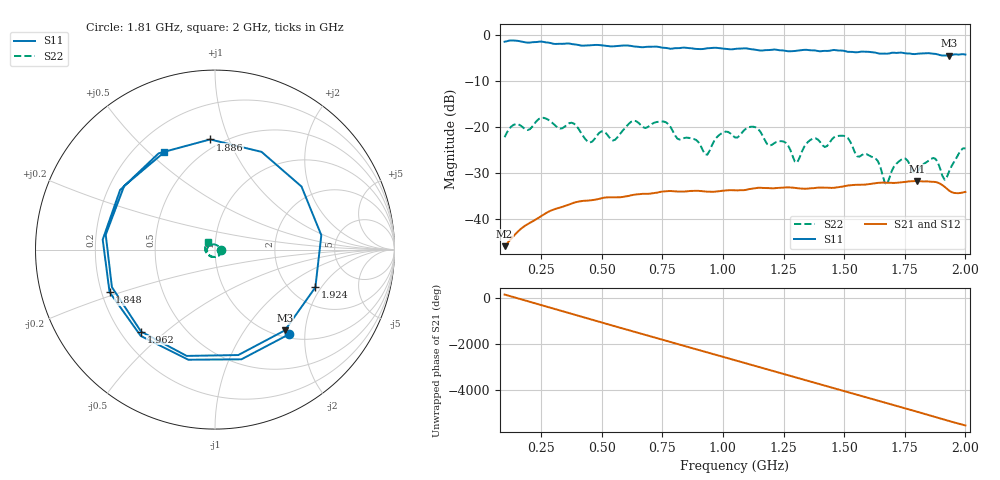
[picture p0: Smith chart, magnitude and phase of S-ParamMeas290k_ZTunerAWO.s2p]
!Keysight Technologies,N5242B,MY48420967,A.15.65.19
!Date: Thursday, December 22, 2022 14:11:36
!Correction: S11(C  2-Port  )
!S21(C  2-Port  )
!S12(C  2-Port  )
!S22(C  2-Port  )
!S2P File: Measurements: S11, S21, S12, S22:
# Hz S  dB  R 50
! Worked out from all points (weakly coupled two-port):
!   201 points, 100 MHz to 2 GHz, reference 50 ohm
!   highest |S21| = -31.74 dB at 1.8 GHz (marker M1); lowest = -45.9 dB at 100 MHz (marker M2)
!   lowest |S11| = -4.5 dB at 1.933 GHz (marker M3), VSWR 3.94, Z = 56.1 - j78.2 ohm
!   |S11| at or under -10 dB: nowhere
!   |S22| runs from -32.4 to -18.0 dB; largest |S21 - S12| = 0.00013
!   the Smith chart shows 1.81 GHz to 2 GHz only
!   S11 on the Smith chart (normalised r, x): 1.81 GHz: 1.07, -1.66; 1.848 GHz: 0.23, -0.18; 1.886 GHz: 0.43, +0.86; 1.924 GHz: 2.70, -1.76; 1.962 GHz: 0.28, -0.41; 2 GHz: 0.32, +0.56
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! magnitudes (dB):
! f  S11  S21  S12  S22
! 100 MHz  -1.5  -45.9  -45.9  -22.2
! 252 MHz  -1.4  -39.3  -39.3  -18.0
! 423 MHz  -2.3  -36.1  -36.0  -21.9
! 546.5 MHz  -2.5  -35.3  -35.3  -22.9
! 736.5 MHz  -2.6  -34.2  -34.1  -18.9
! 926.5 MHz  -3.0  -34.0  -34.0  -25.9
! 993 MHz  -2.9  -33.9  -33.9  -21.4
! 1.05 GHz  -3.0  -33.8  -33.8  -22.3
! 1.135 GHz  -3.2  -33.3  -33.3  -20.1
! 1.306 GHz  -3.4  -33.3  -33.3  -27.7
! 1.373 GHz  -3.4  -33.3  -33.3  -22.5
! 1.506 GHz  -3.5  -32.8  -32.8  -22.0
! 1.687 GHz  -4.0  -32.1  -32.1  -31.1
! 1.744 GHz  -3.9  -32.0  -32.0  -26.9
! 1.8 GHz  -4.1  -31.7  -31.7  -29.9
! 1.81 GHz  -4.1  -31.8  -31.8  -29.1
! 1.848 GHz  -4.0  -31.8  -31.8  -27.3
! 1.886 GHz  -4.2  -32.1  -32.1  -27.7
! 1.924 GHz  -4.5  -33.4  -33.4  -30.8
! 1.933 GHz  -4.5  -33.8  -33.8  -29.6
! 1.962 GHz  -4.2  -34.4  -34.3  -26.8
! 2 GHz  -4.3  -34.1  -34.1  -24.7
